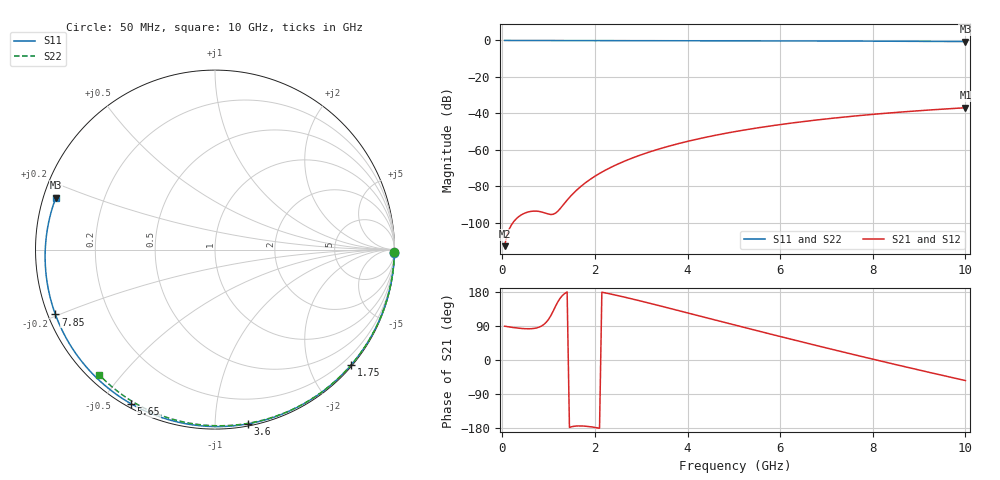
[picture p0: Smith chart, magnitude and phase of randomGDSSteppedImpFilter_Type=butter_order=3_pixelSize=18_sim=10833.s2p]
! freq	dB(S11)	phase(S11)	dB(S12)	phase(S12)
!  dB(S21)	phase(S21)	dB(S22)	phase(S22)
!S-par simulation data
#  GHz  S  DB  R 50
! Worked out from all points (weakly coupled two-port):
!   200 points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, 50 MHz to 10 GHz, reference 50 ohm
!   highest |S21| = -36.89 dB at 10 GHz (marker M1); lowest = -112.7 dB at 50 MHz (marker M2)
!   lowest |S11| = -0.6 dB at 10 GHz (marker M3), VSWR 28.82, Z = 1.78 + j7.95 ohm
!   |S11| at or under -10 dB: nowhere
!   |S22| runs from -0.4 to 0.0 dB; largest |S21 - S12| = 0
!   S11 on the Smith chart (normalised r, x): 50 MHz: 0, -97; 1.75 GHz: 0.02, -2.74; 3.6 GHz: 0.01, -1.21; 5.65 GHz: 0.01, -0.59; 7.85 GHz: 0.02, -0.20; 10 GHz: 0.04, +0.16
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0.05  -0.00 -1.2  -112.73 89.2  -112.73 89.2  -0.00 -0.8
0.4  -0.01 -9.3  -95.75 83.3  -95.75 83.3  -0.01 -6.1
0.8  -0.02 -18.6  -93.73 86.9  -93.73 86.9  -0.02 -12.2
1.2  -0.03 -27.7  -93.55 153.5  -93.55 153.5  -0.02 -18.3
1.65  -0.05 -37.9  -81.00 -174.0  -81.00 -174.0  -0.03 -25.0
1.7  -0.05 -39.0  -79.91 -174.0  -79.91 -174.0  -0.03 -25.8
1.75  -0.05 -40.1  -78.88 -174.3  -78.88 -174.3  -0.03 -26.5
2.05  -0.06 -46.7  -73.63 -178.9  -73.63 -178.9  -0.04 -30.9
2.45  -0.07 -55.4  -68.26 171.2  -68.26 171.2  -0.05 -36.8
2.9  -0.08 -65.0  -63.55 158.3  -63.55 158.3  -0.06 -43.3
3.4  -0.10 -75.3  -59.36 143.0  -59.36 143.0  -0.07 -50.4
3.6  -0.10 -79.4  -57.91 136.8  -57.91 136.8  -0.07 -53.3
4.3  -0.13 -93.2  -53.56 114.9  -53.56 114.9  -0.09 -62.9
5.05  -0.16 -107.5  -49.84 91.4  -49.84 91.4  -0.11 -73.0
5.65  -0.19 -118.6  -47.38 72.8  -47.38 72.8  -0.13 -80.8
6.15  -0.22 -127.6  -45.59 57.4  -45.59 57.4  -0.15 -87.2
6.7  -0.26 -137.4  -43.85 40.7  -43.85 40.7  -0.18 -94.0
7.3  -0.31 -148.1  -42.18 22.8  -42.18 22.8  -0.22 -101.4
7.85  -0.36 -157.9  -40.84 6.6  -40.84 6.6  -0.25 -107.9
8.35  -0.41 -166.9  -39.75 -7.9  -39.75 -7.9  -0.29 -113.8
9.2  -0.50 177.4  -38.15 -32.1  -38.15 -32.1  -0.36 -123.7
10  -0.60 161.9  -36.89 -54.2  -36.89 -54.2  -0.45 -132.8
